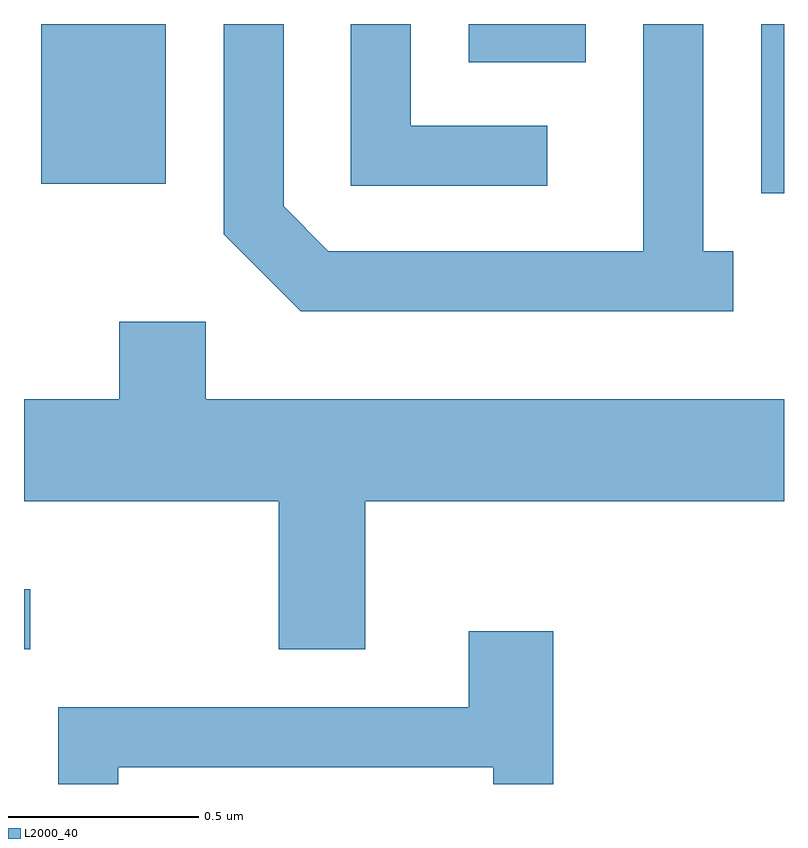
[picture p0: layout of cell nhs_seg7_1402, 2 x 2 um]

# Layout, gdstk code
import gdstk
lib = gdstk.Library(unit=1e-6, precision=1e-09)
def R(c, l, rs):  # rectangles x0, y0, x1, y1
    for r in rs: c.add(gdstk.rectangle(r[:2], r[2:], *l))
def P(c, l, *ps):  # polygons
    for p in ps: c.add(gdstk.Polygon(p, *l))
L2000_40 = (2000, 40)

nhs_seg7_1402 = lib.new_cell('nhs_seg7_1402')
R(nhs_seg7_1402, L2000_40, [(195.611,1700.606,195.628,1700.764), (197.551,1701.806,197.611,1702.252), (195.656,1701.831,195.984,1702.252), (196.781,1702.151,197.089,1702.252)])
P(nhs_seg7_1402, L2000_40, [(196.988,1701.984),(196.629,1701.984),(196.629,1702.252),(196.471,1702.252),(196.471,1701.826),(196.988,1701.826)],
  [(197.478,1701.654),(197.399,1701.654),(197.399,1702.252),(197.241,1702.252),(197.241,1701.654),(196.412,1701.654),(196.294,1701.772),(196.294,1702.252),(196.136,1702.252),(196.136,1701.699),(196.339,1701.496),(197.478,1701.496)],
  [(196.509,1700.996),(197.611,1700.996),(197.611,1701.264),(196.089,1701.264),(196.089,1701.469),(195.861,1701.469),(195.861,1701.264),(195.611,1701.264),(195.611,1700.996),(196.281,1700.996),(196.281,1700.606),(196.509,1700.606)],
  [(195.859,1700.296),(196.846,1700.296),(196.846,1700.252),(197.004,1700.252),(197.004,1700.654),(196.781,1700.654),(196.781,1700.454),(195.701,1700.454),(195.701,1700.252),(195.859,1700.252)])

lib.write_gds('nhs_seg7_1402.gds')
